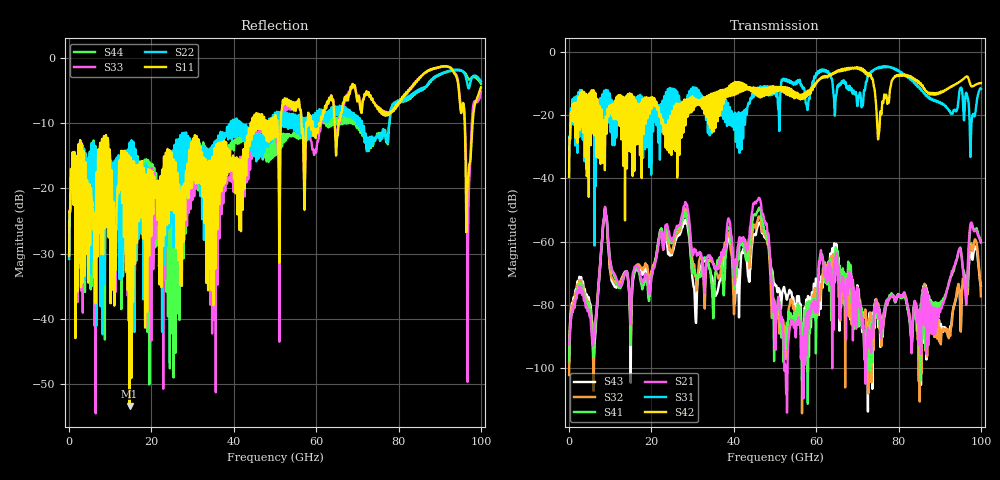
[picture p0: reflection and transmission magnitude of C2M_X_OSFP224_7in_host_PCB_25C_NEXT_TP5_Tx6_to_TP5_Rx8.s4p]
# GHz S RI R 45
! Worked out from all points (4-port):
!   4000 points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, 25 MHz to 100 GHz, reference 45 ohm
!   strongest paths, dB at 25 MHz, 25.02 GHz, 50.02 GHz, 75.03 GHz, 100 GHz:
!     S42: -39.5, -19.9, -11.0, -27.6, -9.9
!     S31: -38.3, -14.7, -11.4, -4.9, -11.6
!     S21: -92.5, -59.8, -83.5, -80.5, -60.3
!     S41: -97.7, -60.3, -85.6, -83.8, -59.8
!     S32: -102.2, -63.2, -81.5, -79.7, -77.3
!     S43: -98.2, -63.9, -73.6, -85.6, -74.0
!   lowest |S11| = -53.3 dB at 14.7 GHz (marker M1), VSWR 1.00, Z = 45.2 + j0.0644 ohm
!   |S11| at or under -10 dB: start of sweep to 44.11 GHz; 59.15 GHz to 61.04 GHz (1.886 GHz wide, 3.14 % of centre); 96.08 GHz to 98 GHz (1.927 GHz wide, 1.99 % of centre) (the widest 3 of 23)
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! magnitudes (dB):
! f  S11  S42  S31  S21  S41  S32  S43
! 25 MHz  -30.3  -39.5  -38.3  -92.5  -97.7  -102.2  -98.2
! 8.725 GHz  -26.1  -33.5  -21.5  -49.1  -49.5  -49.3  -49.7
! 14.7 GHz  -53.3  -13.4  -20.9  -77.6  -78.4  -78.4  -79.1
! 28.25 GHz  -22.5  -23.3  -17.8  -47.5  -50.8  -49.5  -53.0
! 46.15 GHz  -10.9  -11.7  -12.7  -46.2  -49.3  -52.0  -54.0
! 50.02 GHz  -9.1  -11.0  -11.4  -83.5  -85.6  -81.5  -73.6
! 100 GHz  -4.6  -9.9  -11.6  -60.3  -59.8  -77.3  -74.0
